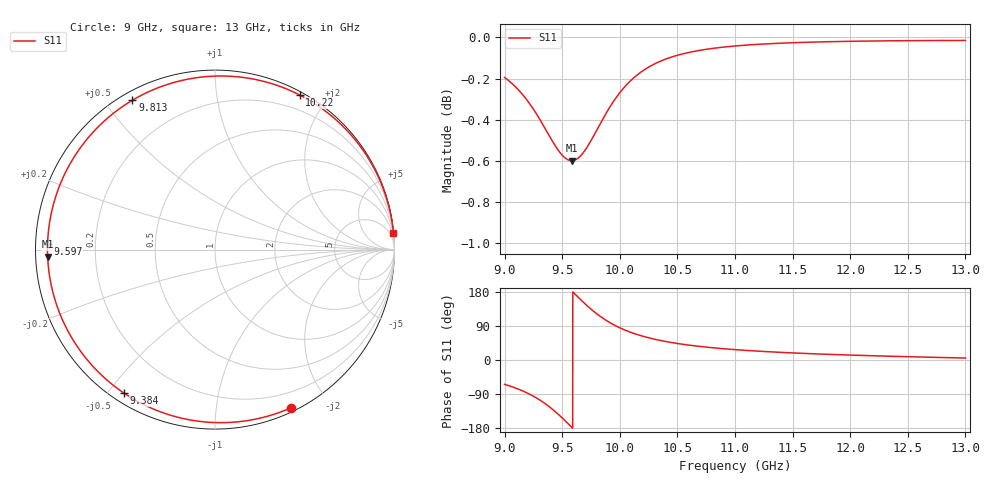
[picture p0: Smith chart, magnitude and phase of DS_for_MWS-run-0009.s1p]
! TOUCHSTONE file generated by CST DESIGN STUDIO
! Date and time: Wed Feb  5 13:31:22 2025
! Project name: C:\Work\MatlabApps\UnitCellOptimizationMatlab\CST\unitcell.cst
! Tree item: Tasks\Sweep1\SPara1\S-Parameters
! Header version: 2024
! Port assignment regex: !\s*Touchstone port\s*([0-9]+)\s*=\s*(CST MWS port|CST DES external port|CST DES block port)\s*(.+)\s* \(\"(.*)\"\)(\s*mode\s*([0-9]+))?.*
! Touchstone port assignment:
! Touchstone port 1 = CST DES external port 1 ("")
# GHz S MA R 50
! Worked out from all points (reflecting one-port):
!   4001 points, 9 GHz to 13 GHz, reference 50 ohm
!   lowest |S11| = -0.6 dB at 9.583 GHz (marker M1), VSWR 29.01, Z = 1.72 - j1.06 ohm
!   phase of S11 starts at -64 deg and turns -290 deg over the sweep
!   S11 on the Smith chart (normalised r, x): 9 GHz: 0.04, -1.59; 9.384 GHz: 0.04, -0.55; 9.597 GHz: 0.03, +0.02; 9.813 GHz: 0.03, +0.59; 10.22 GHz: 0.03, +1.69; 13 GHz: 0, +22
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9  0.9778 -64.3
9.047  0.9755 -68.8
9.115  0.9714 -76.3
9.233  0.9622 -92.7
9.313  0.9544 -107.0
9.384  0.9468 -122.4
9.441  0.941 -136.6
9.5  0.9362 -152.8
9.543  0.934 -165.5
9.583  0.9333 -177.6
9.597  0.9334 178.2
9.652  0.9354 161.6
9.713  0.9401 144.1
9.763  0.9453 130.9
9.813  0.9509 118.9
9.854  0.9555 110.0
9.898  0.9602 101.5
10  0.9695 84.9
10.103  0.9766 72.1
10.216  0.9822 61.3
10.347  0.9866 51.8
10.5  0.9901 43.6
10.72  0.9931 35.0
11  0.9952 27.4
11.5  0.997 18.7
12  0.9978 13.0
12.5  0.9982 8.7
13  0.9983 5.2
